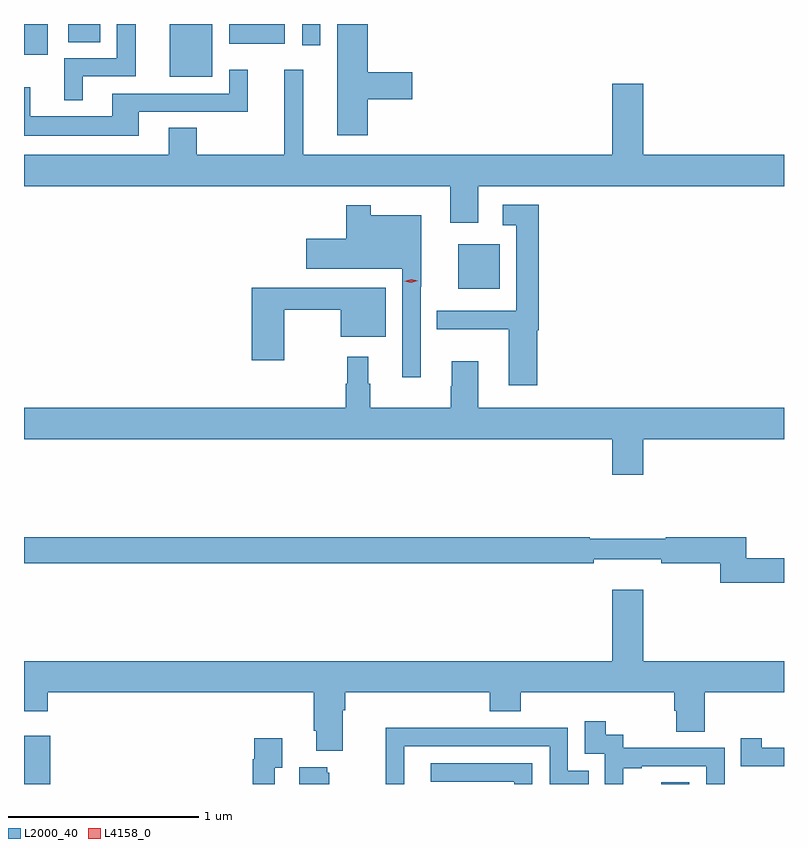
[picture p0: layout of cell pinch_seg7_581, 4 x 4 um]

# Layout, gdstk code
import gdstk
lib = gdstk.Library(unit=1e-6, precision=1e-09)
def R(c, l, rs):  # rectangles x0, y0, x1, y1
    for r in rs: c.add(gdstk.rectangle(r[:2], r[2:], *l))
def P(c, l, *ps):  # polygons
    for p in ps: c.add(gdstk.Polygon(p, *l))
L2000_40 = (2000, 40)
L4158_0 = (4158, 0)

pinch_seg7_581 = lib.new_cell('pinch_seg7_581')
R(pinch_seg7_581, L2000_40, [(237.195,1001.465,237.342,1001.473), (236.126,1004.072,236.344,1004.305), (234.608,1005.188,234.832,1005.465), (233.841,1005.302,233.965,1005.465), (235.305,1005.354,235.401,1005.465), (234.92,1005.362,235.213,1005.465), (234.074,1005.37,234.241,1005.465)])
P(pinch_seg7_581, L2000_40, [(234.151,1005.189),(234.428,1005.189),(234.428,1005.465),(234.33,1005.465),(234.33,1005.285),(234.053,1005.285),(234.053,1005.065),(234.151,1005.065)],
  [(235.649,1005.07),(235.885,1005.07),(235.885,1005.212),(235.649,1005.212),(235.649,1005.465),(235.49,1005.465),(235.49,1004.88),(235.649,1004.88)],
  [(235.211,1005.223),(235.211,1004.776),(234.75,1004.776),(234.75,1004.918),(234.602,1004.918),(234.602,1004.776),(233.841,1004.776),(233.841,1004.612),(236.084,1004.612),(236.084,1004.418),(236.233,1004.418),(236.233,1004.612),(237.841,1004.612),(237.841,1004.776),(237.1,1004.776),(237.1,1005.151),(236.936,1005.151),(236.936,1004.776),(235.31,1004.776),(235.31,1005.223)],
  [(234.445,1005.003),(235.019,1005.003),(235.019,1005.223),(234.921,1005.223),(234.921,1005.099),(234.305,1005.099),(234.305,1004.98),(233.875,1004.98),(233.875,1005.133),(233.841,1005.133),(233.841,1004.876),(234.445,1004.876)],
  [(236.543,1003.853),(236.549,1003.853),(236.549,1004.515),(236.361,1004.515),(236.361,1004.405),(236.433,1004.405),(236.433,1003.956),(236.014,1003.956),(236.014,1003.859),(236.393,1003.859),(236.393,1003.563),(236.543,1003.563)],
  [(235.929,1004.081),(235.931,1004.081),(235.931,1004.458),(235.666,1004.458),(235.666,1004.512),(235.537,1004.512),(235.537,1004.335),(235.326,1004.335),(235.326,1004.177),(235.833,1004.177),(235.833,1003.605),(235.929,1003.605)],
  [(235.21,1003.96),(235.508,1003.96),(235.508,1003.82),(235.744,1003.82),(235.744,1004.076),(235.04,1004.076),(235.04,1003.695),(235.21,1003.695)],
  [(237.1,1003.28),(237.841,1003.28),(237.841,1003.444),(236.233,1003.444),(236.233,1003.69),(236.093,1003.69),(236.093,1003.559),(236.086,1003.559),(236.086,1003.444),(235.663,1003.444),(235.663,1003.571),(235.652,1003.571),(235.652,1003.714),(235.542,1003.714),(235.542,1003.571),(235.534,1003.571),(235.534,1003.444),(233.841,1003.444),(233.841,1003.28),(236.936,1003.28),(236.936,1003.092),(237.1,1003.092)],
  [(237.841,1002.653),(237.641,1002.653),(237.641,1002.764),(237.218,1002.764),(237.218,1002.757),(236.818,1002.757),(236.818,1002.764),(233.841,1002.764),(233.841,1002.628),(236.84,1002.628),(236.84,1002.647),(237.196,1002.647),(237.196,1002.628),(237.505,1002.628),(237.505,1002.525),(237.841,1002.525)],
  [(233.841,1001.849),(233.966,1001.849),(233.966,1001.948),(235.367,1001.948),(235.367,1001.746),(235.379,1001.746),(235.379,1001.639),(235.519,1001.639),(235.519,1001.852),(235.532,1001.852),(235.532,1001.948),(236.291,1001.948),(236.291,1001.849),(236.456,1001.849),(236.456,1001.948),(237.263,1001.948),(237.263,1001.85),(237.275,1001.85),(237.275,1001.74),(237.423,1001.74),(237.423,1001.948),(237.841,1001.948),(237.841,1002.112),(237.1,1002.112),(237.1,1002.487),(236.936,1002.487),(236.936,1002.112),(233.841,1002.112)],
  [(236.996,1001.547),(237.091,1001.547),(237.091,1001.559),(237.432,1001.559),(237.432,1001.465),(237.528,1001.465),(237.528,1001.655),(236.994,1001.655),(236.994,1001.724),(236.902,1001.724),(236.902,1001.794),(236.793,1001.794),(236.793,1001.625),(236.898,1001.625),(236.898,1001.465),(236.996,1001.465)],
  [(235.842,1001.664),(236.607,1001.664),(236.607,1001.465),(236.813,1001.465),(236.813,1001.535),(236.703,1001.535),(236.703,1001.76),(236.207,1001.76),(236.207,1001.762),(235.744,1001.762),(235.744,1001.465),(235.842,1001.465)],
  [(233.978,1001.719),(233.841,1001.719),(233.841,1001.62),(233.843,1001.62),(233.843,1001.465),(233.978,1001.465)],
  [(235.161,1001.551),(235.201,1001.551),(235.201,1001.707),(235.053,1001.707),(235.053,1001.594),(235.045,1001.594),(235.045,1001.465),(235.161,1001.465)],
  [(237.841,1001.655),(237.724,1001.655),(237.724,1001.707),(237.613,1001.707),(237.613,1001.559),(237.841,1001.559)],
  [(236.517,1001.574),(235.983,1001.574),(235.983,1001.478),(236.421,1001.478),(236.421,1001.465),(236.517,1001.465)],
  [(235.447,1001.523),(235.436,1001.523),(235.436,1001.554),(235.289,1001.554),(235.289,1001.465),(235.447,1001.465)])
P(pinch_seg7_581, L4158_0, [(235.879,1004.103),(235.843,1004.111),(235.843,1004.111),(235.843,1004.111),(235.878,1004.122),(235.914,1004.114),(235.914,1004.114),(235.914,1004.114)])

lib.write_gds('pinch_seg7_581.gds')
